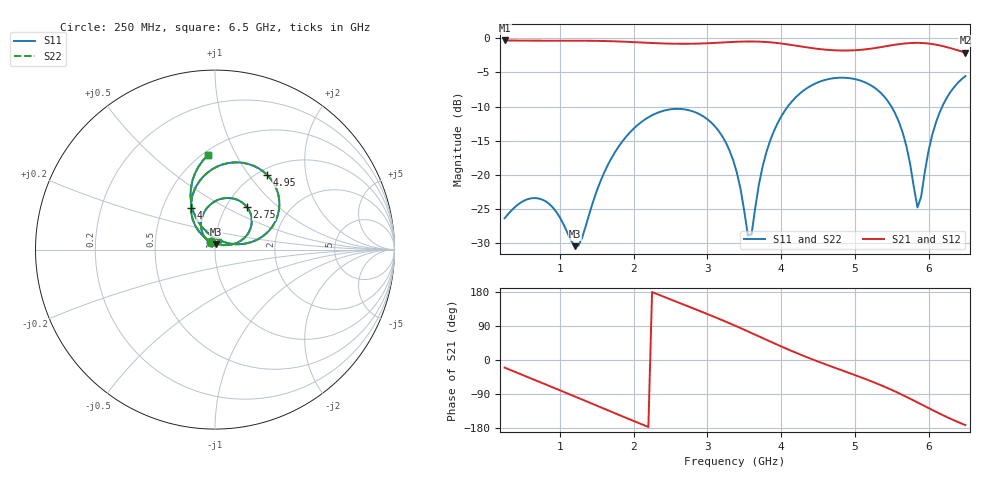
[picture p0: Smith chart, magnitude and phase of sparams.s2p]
! NobuRF kit-fr4-50-r2-line12: ports 1 "p1", 2 "p2"; 8800 + 8800 steps
# GHz S RI R 50
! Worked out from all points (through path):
!   126 points, 250 MHz to 6.5 GHz, reference 50 ohm
!   highest |S21| = -0.33 dB at 250 MHz (marker M1); lowest = -2.1 dB at 6.5 GHz (marker M2)
!   group delay of S21, straight-line fit = 225 ps
!   lowest |S11| = -30.4 dB at 1.2 GHz (marker M3), VSWR 1.06, Z = 50.5 + j2.98 ohm
!   |S11| at or under -10 dB: start of sweep to 4.091 GHz; 5.497 GHz to 6.187 GHz (690 MHz wide, 11.8 % of centre)
!   |S22| runs from -30.4 to -5.5 dB; largest |S21 - S12| = 2e-07
!   S11 on the Smith chart (normalised r, x): 250 MHz: 0.95, +0.08; 2.75 GHz: 1.24, +0.65; 4 GHz: 0.69, +0.34; 4.95 GHz: 1.09, +1.23; 6.5 GHz: 0.53, +0.78
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0.25  -0.0229 0.0424  0.9043 -0.3304  0.9043 -0.3304  -0.0229 0.0424
0.75  0.0319 0.0581  0.4796 -0.8305  0.4796 -0.8305  0.0319 0.0581
1.2  0.00594 0.0295  -0.101 -0.9532  -0.101 -0.9532  0.00594 0.0295
1.3  -0.0119 0.0324  -0.234 -0.9292  -0.234 -0.9292  -0.0119 0.0324
1.75  -0.0774 0.1256  -0.7344 -0.6002  -0.7344 -0.6002  -0.0774 0.1256
2.05  -0.0497 0.2251  -0.9009 -0.2431  -0.9009 -0.2431  -0.0497 0.2251
2.35  0.0432 0.285  -0.9076 0.1352  -0.9076 0.1352  0.0432 0.285
2.75  0.1767 0.2389  -0.7046 0.5768  -0.7046 0.5768  0.1767 0.2389
3.15  0.1879 0.0958  -0.3056 0.875  -0.3056 0.875  0.1879 0.0958
3.4  0.0995 0.0298  0.0255 0.9413  0.0255 0.9413  0.0995 0.0298
3.55  0.022 0.0285  0.2372 0.9159  0.2372 0.9159  0.022 0.0285
3.6  -0.00464 0.0365  0.3066 0.8952  0.3066 0.8952  -0.00464 0.0365
3.75  -0.0769 0.086  0.5008 0.7968  0.5008 0.7968  -0.0769 0.086
4  -0.1344 0.2301  0.74 0.5374  0.74 0.5374  -0.1344 0.2301
4.45  0.0113 0.4621  0.8422 -0.00278  0.8422 -0.00278  0.0113 0.4621
4.95  0.2889 0.418  0.6571 -0.4806  0.6571 -0.4806  0.2889 0.418
5.25  0.359 0.2566  0.4435 -0.7173  0.4435 -0.7173  0.359 0.2566
5.5  0.2974 0.1012  0.171 -0.871  0.171 -0.871  0.2974 0.1012
5.7  0.1591 0.0316  -0.1167 -0.9097  -0.1167 -0.9097  0.1591 0.0316
5.85  0.0318 0.0483  -0.3455 -0.8575  -0.3455 -0.8575  0.0318 0.0483
6.1  -0.12 0.2094  -0.6521 -0.6162  -0.6521 -0.6162  -0.12 0.2094
6.5  -0.0391 0.527  -0.7772 -0.1112  -0.7772 -0.1112  -0.0391 0.527
